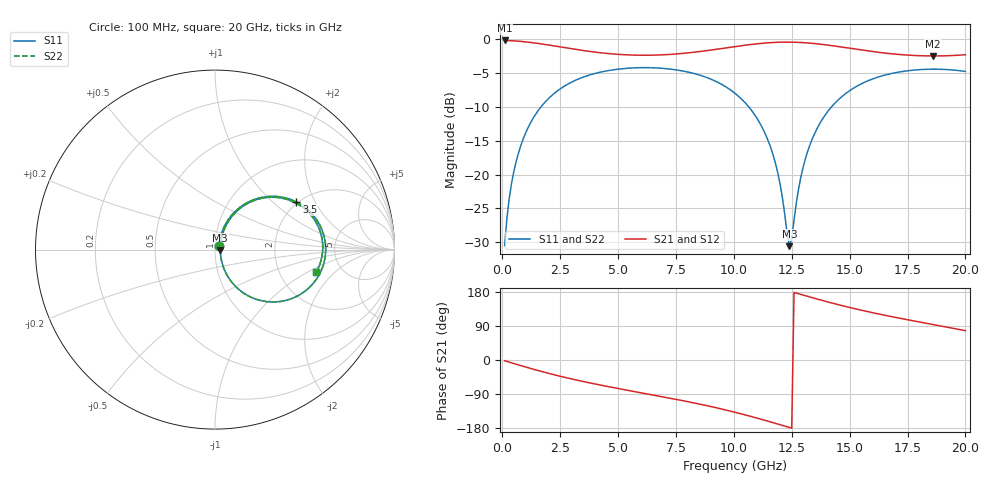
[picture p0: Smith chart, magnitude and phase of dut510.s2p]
! Touchstone file exported from HFSS 2026.1.0
!  File:  C:/ffzhzh/LocalFiles/Ansys_Project_Files/temp_train_TSV_RDL_510_1783108872_46604.aedt
!  Generated:  04:17:15 AM Jul  4, 2026
!  Design:  TSV_RDL
!  Project:  temp_train_TSV_RDL_510_1783108872_46604
! Variables:
!  h_bsmrdl = 5.5um
!  h_ox = 20um
!  h_rdl = 5um
!  h_sub = 99.27um
!  h_tmrdl = 5.81um
!  h_tsv = 99.27um
!  h_via = 3um
!  l_bsmrdl = 808.64um
!  l_sub = 4749.25um
!  l_tmrdl = 452.94um
!  m_sub = 200um
!  pitch = 55.48um
!  r_tsv = 3.45um
!  s_tmrdl = 10um
!  w_bsmrdl = 20.33um
!  w_sub = 500um
!  w_tmrdl = 16.86um
!  x_tsv_center1 = 461.37um
!  x_tsv_center2 = 1290.34um
!  x_tsv_center3 = 1760.14um
!  x_tsv_center4 = 2589.11um
!  x_tsv_center5 = 3058.91um
!  x_tsv_center6 = 3887.88um
# GHz S MA R 50.000000
! Terminal data exported
! Port[1] = TM_RDL1_1_T1
! Port[2] = TM_RDL5_1_T1
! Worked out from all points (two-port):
!   200 points, 100 MHz to 20 GHz, reference 50 ohm
!   highest |S21| = -0.18 dB at 100 MHz (marker M1); lowest = -2.5 dB at 18.6 GHz (marker M2)
!   |S21| within 3 dB of the highest: start of sweep to end of sweep
!   lowest |S11| = -30.6 dB at 12.4 GHz (marker M3), VSWR 1.06, Z = 53 - j0.263 ohm
!   |S11| at or under -10 dB: start of sweep to 1.671 GHz; 10.64 GHz to 14.22 GHz (3.573 GHz wide, 28.7 % of centre)
!   |S22| runs from -30.7 to -4.2 dB; largest |S21 - S12| = 1.7e-14
!   S11 on the Smith chart (normalised r, x): 100 MHz: 1.04, +0.04; 3.5 GHz: 1.96, +1.44; 20 GHz: 3.24, -1.22
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0.1  0.02995 44.0  0.9789 -1.9  0.9789 -1.9  0.02995 44.0
! Gamma 0 0 0 0
! Port Impedance 50 0 50 0
0.3  0.06663 65.1  0.9761 -5.7  0.9761 -5.7  0.06663 65.1
0.5  0.1057 68.4  0.9722 -9.3  0.9722 -9.3  0.1057 68.4
1.1  0.2197 63.7  0.9521 -20.2  0.9521 -20.2  0.2197 63.7
2.1  0.3791 49.4  0.9001 -36.8  0.9001 -36.8  0.3791 49.4
3.5  0.5251 30.4  0.8244 -56.9  0.8244 -56.9  0.5251 30.4
5.1  0.6035 11.6  0.7711 -76.4  0.7711 -76.4  0.6035 11.6
6.8  0.6114 -6.9  0.7651 -95.6  0.7651 -95.6  0.6115 -6.9
8.7  0.5309 -28.7  0.8179 -118.7  0.8179 -118.7  0.5309 -28.7
10.1  0.3922 -46.9  0.8843 -138.7  0.8843 -138.7  0.3922 -47.0
11  0.2605 -58.9  0.9249 -153.3  0.9249 -153.3  0.2605 -59.0
11.6  0.1569 -64.7  0.9437 -163.7  0.9437 -163.7  0.1569 -64.9
12  0.08467 -62.1  0.9504 -170.8  0.9504 -170.8  0.08456 -62.4
12.4  0.02962 -4.8  0.9517 -178.0  0.9517 -178.0  0.02924 -4.9
12.5  0.03378 27.9  0.9512 -179.8  0.9512 -179.8  0.03343 28.2
12.9  0.09705 64.1  0.9456 173.0  0.9456 173.0  0.09691 64.3
13.4  0.1857 64.1  0.9317 164.3  0.9317 164.3  0.1856 64.2
14  0.2839 57.5  0.9072 154.1  0.9072 154.1  0.2839 57.5
14.7  0.3813 48.3  0.8728 143.1  0.8728 143.1  0.3813 48.3
16.7  0.5531 23.4  0.784 115.8  0.784 115.8  0.553 23.5
18.6  0.6007 2.6  0.7521 93.6  0.7521 93.6  0.6007 2.6
20  0.5777 -12.5  0.7679 77.4  0.7679 77.4  0.5776 -12.5
